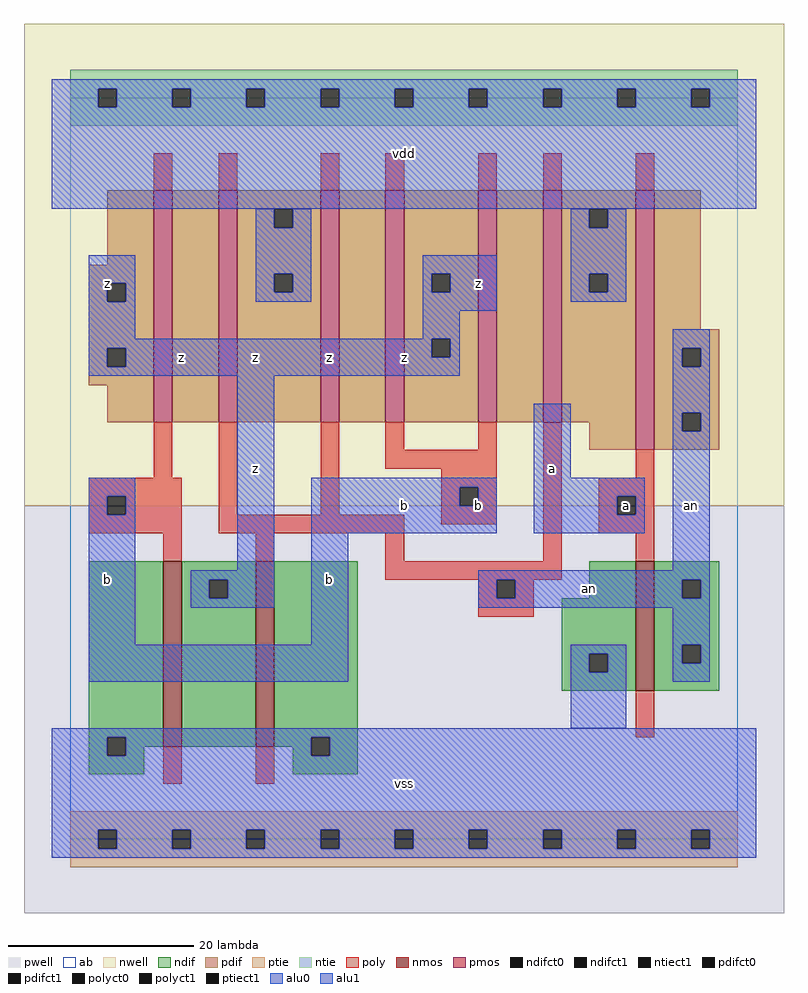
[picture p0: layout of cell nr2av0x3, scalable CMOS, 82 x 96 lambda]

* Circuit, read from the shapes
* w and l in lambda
.subckt nr2av0x3 a an b vdd vss z
M1 z b vss vss nfet w=20 l=2
M2 vss an z vss nfet w=20 l=2
M3 an a vss vss nfet w=14 l=2
M4 n1 b z vdd pfet w=25 l=2
M5 vdd an n1 vdd pfet w=25 l=2
M6 n2 an vdd vdd pfet w=25 l=2
M7 z b n2 vdd pfet w=25 l=2
M8 n3 b z vdd pfet w=25 l=2
M9 vdd an n3 vdd pfet w=25 l=2
M10 an a vdd vdd pfet w=28 l=2
.ends

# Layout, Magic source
magic
tech scmos
<< ab >>
rect 0 0 72 80
<< nwell >>
rect -5 36 77 88
<< pwell >>
rect -5 -8 77 36
<< poly >>
rect 9 70 11 74
rect 16 70 18 74
rect 27 70 29 74
rect 34 70 36 74
rect 44 70 46 74
rect 51 70 53 74
rect 61 70 63 74
rect 9 39 11 45
rect 2 37 12 39
rect 2 35 4 37
rect 6 35 12 37
rect 2 33 12 35
rect 16 35 18 45
rect 27 35 29 45
rect 34 42 36 45
rect 44 42 46 45
rect 34 40 46 42
rect 40 38 46 40
rect 40 36 42 38
rect 44 36 46 38
rect 16 33 36 35
rect 40 34 46 36
rect 10 30 12 33
rect 20 30 22 33
rect 34 30 36 33
rect 51 30 53 45
rect 61 39 63 42
rect 57 37 63 39
rect 57 35 59 37
rect 61 35 63 37
rect 57 33 63 35
rect 61 30 63 33
rect 34 28 53 30
rect 44 26 46 28
rect 48 26 50 28
rect 44 24 50 26
rect 61 11 63 16
rect 10 6 12 10
rect 20 6 22 10
<< ndif >>
rect 2 11 10 30
rect 2 9 4 11
rect 6 10 10 11
rect 12 28 20 30
rect 12 26 15 28
rect 17 26 20 28
rect 12 10 20 26
rect 22 11 31 30
rect 56 26 61 30
rect 53 20 61 26
rect 53 18 56 20
rect 58 18 61 20
rect 53 16 61 18
rect 63 28 70 30
rect 63 26 66 28
rect 68 26 70 28
rect 63 21 70 26
rect 63 19 66 21
rect 68 19 70 21
rect 63 16 70 19
rect 22 10 26 11
rect 6 9 8 10
rect 2 7 8 9
rect 24 9 26 10
rect 28 9 31 11
rect 24 7 31 9
<< pdif >>
rect 4 62 9 70
rect 2 60 9 62
rect 2 58 4 60
rect 6 58 9 60
rect 2 53 9 58
rect 2 51 4 53
rect 6 51 9 53
rect 2 49 9 51
rect 4 45 9 49
rect 11 45 16 70
rect 18 68 27 70
rect 18 66 22 68
rect 24 66 27 68
rect 18 61 27 66
rect 18 59 22 61
rect 24 59 27 61
rect 18 45 27 59
rect 29 45 34 70
rect 36 61 44 70
rect 36 59 39 61
rect 41 59 44 61
rect 36 54 44 59
rect 36 52 39 54
rect 41 52 44 54
rect 36 45 44 52
rect 46 45 51 70
rect 53 68 61 70
rect 53 66 56 68
rect 58 66 61 68
rect 53 61 61 66
rect 53 59 56 61
rect 58 59 61 61
rect 53 45 61 59
rect 56 42 61 45
rect 63 55 68 70
rect 63 53 70 55
rect 63 51 66 53
rect 68 51 70 53
rect 63 46 70 51
rect 63 44 66 46
rect 68 44 70 46
rect 63 42 70 44
<< alu1 >>
rect -2 81 74 82
rect -2 79 3 81
rect 5 79 11 81
rect 13 79 19 81
rect 21 79 27 81
rect 29 79 35 81
rect 37 79 43 81
rect 45 79 51 81
rect 53 79 59 81
rect 61 79 67 81
rect 69 79 74 81
rect -2 68 74 79
rect 2 60 7 63
rect 2 58 4 60
rect 6 58 7 60
rect 38 61 46 63
rect 38 59 39 61
rect 41 59 46 61
rect 2 54 7 58
rect 38 57 46 59
rect 38 54 42 57
rect 2 53 39 54
rect 2 51 4 53
rect 6 52 39 53
rect 41 52 42 54
rect 6 51 42 52
rect 2 50 42 51
rect 2 37 7 39
rect 2 35 4 37
rect 6 35 7 37
rect 2 21 7 35
rect 18 29 22 50
rect 50 39 54 47
rect 13 28 22 29
rect 13 26 15 28
rect 17 26 22 28
rect 13 25 22 26
rect 26 38 46 39
rect 26 36 42 38
rect 44 36 46 38
rect 26 33 46 36
rect 50 37 62 39
rect 50 35 59 37
rect 61 35 62 37
rect 50 33 62 35
rect 26 21 30 33
rect 2 17 30 21
rect -2 11 74 12
rect -2 9 4 11
rect 6 9 26 11
rect 28 9 74 11
rect -2 1 74 9
rect -2 -1 3 1
rect 5 -1 11 1
rect 13 -1 19 1
rect 21 -1 27 1
rect 29 -1 35 1
rect 37 -1 43 1
rect 45 -1 51 1
rect 53 -1 59 1
rect 61 -1 67 1
rect 69 -1 74 1
rect -2 -2 74 -1
<< ptie >>
rect 0 1 72 3
rect 0 -1 3 1
rect 5 -1 11 1
rect 13 -1 19 1
rect 21 -1 27 1
rect 29 -1 35 1
rect 37 -1 43 1
rect 45 -1 51 1
rect 53 -1 59 1
rect 61 -1 67 1
rect 69 -1 72 1
rect 0 -3 72 -1
<< ntie >>
rect 0 81 72 83
rect 0 79 3 81
rect 5 79 11 81
rect 13 79 19 81
rect 21 79 27 81
rect 29 79 35 81
rect 37 79 43 81
rect 45 79 51 81
rect 53 79 59 81
rect 61 79 67 81
rect 69 79 72 81
rect 0 77 72 79
<< nmos >>
rect 10 10 12 30
rect 20 10 22 30
rect 61 16 63 30
<< pmos >>
rect 9 45 11 70
rect 16 45 18 70
rect 27 45 29 70
rect 34 45 36 70
rect 44 45 46 70
rect 51 45 53 70
rect 61 42 63 70
<< polyct0 >>
rect 46 26 48 28
<< polyct1 >>
rect 4 35 6 37
rect 42 36 44 38
rect 59 35 61 37
<< ndifct0 >>
rect 56 18 58 20
rect 66 26 68 28
rect 66 19 68 21
<< ndifct1 >>
rect 4 9 6 11
rect 15 26 17 28
rect 26 9 28 11
<< ntiect1 >>
rect 3 79 5 81
rect 11 79 13 81
rect 19 79 21 81
rect 27 79 29 81
rect 35 79 37 81
rect 43 79 45 81
rect 51 79 53 81
rect 59 79 61 81
rect 67 79 69 81
<< ptiect1 >>
rect 3 -1 5 1
rect 11 -1 13 1
rect 19 -1 21 1
rect 27 -1 29 1
rect 35 -1 37 1
rect 43 -1 45 1
rect 51 -1 53 1
rect 59 -1 61 1
rect 67 -1 69 1
<< pdifct0 >>
rect 22 66 24 68
rect 22 59 24 61
rect 56 66 58 68
rect 56 59 58 61
rect 66 51 68 53
rect 66 44 68 46
<< pdifct1 >>
rect 4 58 6 60
rect 4 51 6 53
rect 39 59 41 61
rect 39 52 41 54
<< alu0 >>
rect 20 66 22 68
rect 24 66 26 68
rect 20 61 26 66
rect 54 66 56 68
rect 58 66 60 68
rect 20 59 22 61
rect 24 59 26 61
rect 20 58 26 59
rect 54 61 60 66
rect 54 59 56 61
rect 58 59 60 61
rect 54 58 60 59
rect 65 53 69 55
rect 65 51 66 53
rect 68 51 69 53
rect 65 46 69 51
rect 65 44 66 46
rect 68 44 69 46
rect 65 29 69 44
rect 44 28 69 29
rect 44 26 46 28
rect 48 26 66 28
rect 68 26 69 28
rect 44 25 69 26
rect 65 21 69 25
rect 54 20 60 21
rect 54 18 56 20
rect 58 18 60 20
rect 54 12 60 18
rect 65 19 66 21
rect 68 19 69 21
rect 65 17 69 19
<< labels >>
rlabel alu0 56 27 56 27 6 an
rlabel alu0 67 36 67 36 6 an
rlabel alu1 4 28 4 28 6 b
rlabel alu1 12 52 12 52 6 z
rlabel alu1 4 60 4 60 6 z
rlabel alu1 28 28 28 28 6 b
rlabel alu1 20 40 20 40 6 z
rlabel alu1 20 52 20 52 6 z
rlabel alu1 28 52 28 52 6 z
rlabel alu1 36 6 36 6 6 vss
rlabel alu1 36 36 36 36 6 b
rlabel alu1 44 36 44 36 6 b
rlabel alu1 52 40 52 40 6 a
rlabel alu1 36 52 36 52 6 z
rlabel alu1 44 60 44 60 6 z
rlabel alu1 36 74 36 74 6 vdd
rlabel polyct1 60 36 60 36 6 a
<< end >>
